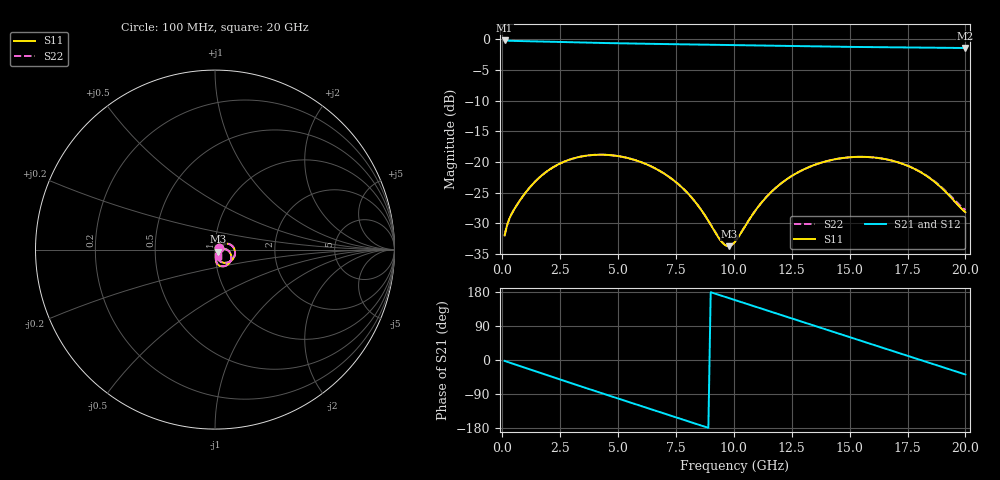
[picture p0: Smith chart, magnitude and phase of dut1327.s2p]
! Touchstone file exported from HFSS 2026.1.0
!  File:  C:/ffzhzh/LocalFiles/Ansys_Project_Files/temp_train_TSV_RDL_1327_1783337652_38704.aedt
!  Generated:  07:43:14 PM Jul  6, 2026
!  Design:  TSV_RDL
!  Project:  temp_train_TSV_RDL_1327_1783337652_38704
! Variables:
!  h_bsmrdl = 5.45um
!  h_ox = 20um
!  h_rdl = 5um
!  h_sub = 80.42um
!  h_tmrdl = 5.13um
!  h_tsv = 80.42um
!  h_via = 3um
!  l_bsmrdl = 981.18um
!  l_sub = 6973.51um
!  l_tmrdl = 875.52um
!  m_sub = 200um
!  pitch = 27.89um
!  r_tsv = 6.08um
!  s_tmrdl = 10um
!  w_bsmrdl = 19.96um
!  w_sub = 500um
!  w_tmrdl = 22.67um
!  x_tsv_center1 = 886.855um
!  x_tsv_center2 = 1887.995um
!  x_tsv_center3 = 2786.185um
!  x_tsv_center4 = 3787.325um
!  x_tsv_center5 = 4685.515um
!  x_tsv_center6 = 5686.655um
# GHz S MA R 50.000000
! Terminal data exported
! Port[1] = TM_RDL1_1_T1
! Port[2] = TM_RDL5_1_T1
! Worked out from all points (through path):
!   200 points, 100 MHz to 20 GHz, reference 50 ohm
!   highest |S21| = -0.21 dB at 100 MHz (marker M1); lowest = -1.4 dB at 20 GHz (marker M2)
!   group delay of S21, straight-line fit = 55.1 ps
!   lowest |S11| = -33.7 dB at 9.8 GHz (marker M3), VSWR 1.04, Z = 51.8 - j1.12 ohm
!   |S11| at or under -10 dB: start of sweep to end of sweep
!   |S22| runs from -33.6 to -18.8 dB; largest |S21 - S12| = 1.6e-14
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0.1  0.02509 17.2  0.9763 -2.3  0.9763 -2.3  0.02509 17.2
! Gamma 0 0 0 0
! Port Impedance 50 0 50 0
0.5  0.0406 28.5  0.9681 -10.7  0.9681 -10.7  0.04059 28.6
1.4  0.06851 28.3  0.9601 -29.2  0.9601 -29.2  0.06849 28.3
2.5  0.09705 12.9  0.9489 -51.6  0.9489 -51.6  0.09701 13.0
3.5  0.1114 -4.4  0.9387 -71.7  0.9387 -71.7  0.1113 -4.3
4.3  0.1144 -18.5  0.9315 -87.7  0.9315 -87.7  0.1143 -18.3
5.1  0.1106 -32.2  0.9252 -103.6  0.9252 -103.6  0.1105 -32.0
5.9  0.101 -45.3  0.9197 -119.5  0.9197 -119.5  0.1009 -45.1
6.8  0.08439 -58.9  0.9139 -137.4  0.9139 -137.4  0.08432 -58.6
8.3  0.04801 -74.0  0.9047 -167.2  0.9047 -167.2  0.04805 -73.4
9.4  0.0232 -56.2  0.8979 171.0  0.8979 171.0  0.02342 -55.6
9.8  0.02054 -31.8  0.8953 163.1  0.8953 163.1  0.0208 -31.5
10.1  0.02292 -13.8  0.8934 157.1  0.8934 157.1  0.02314 -13.8
11  0.04177 5.1  0.8877 139.3  0.8877 139.3  0.04183 5.1
11.8  0.06118 1.5  0.8827 123.5  0.8827 123.5  0.06116 1.7
13.4  0.09315 -17.6  0.8733 92.0  0.8733 92.0  0.09304 -17.3
15  0.109 -40.5  0.8653 60.5  0.8653 60.5  0.1089 -39.9
16.7  0.1037 -64.4  0.8587 27.1  0.8587 27.1  0.1038 -63.6
17.5  0.09293 -74.5  0.856 11.3  0.856 11.3  0.09314 -73.4
18.3  0.0773 -82.4  0.8534 -4.5  0.8534 -4.5  0.07775 -81.1
19.1  0.0581 -84.9  0.8508 -20.4  0.8508 -20.4  0.05897 -83.2
20  0.03884 -68.9  0.8473 -38.3  0.8473 -38.3  0.04054 -67.5
